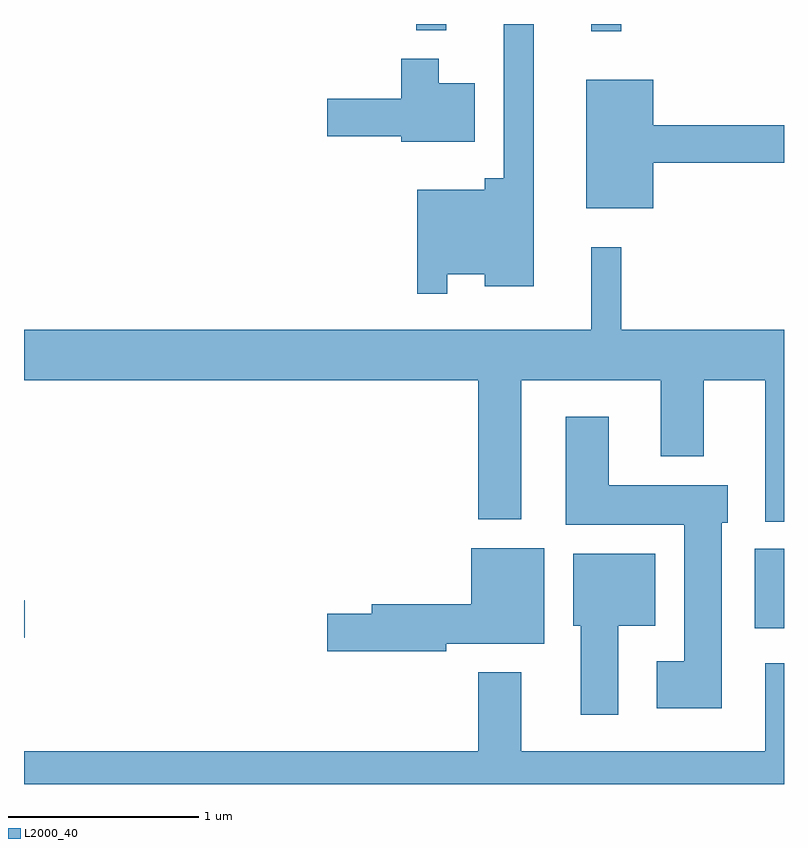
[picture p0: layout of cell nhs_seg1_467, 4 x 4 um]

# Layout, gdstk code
import gdstk
lib = gdstk.Library(unit=1e-6, precision=1e-09)
def R(c, l, rs):  # rectangles x0, y0, x1, y1
    for r in rs: c.add(gdstk.rectangle(r[:2], r[2:], *l))
def P(c, l, *ps):  # polygons
    for p in ps: c.add(gdstk.Polygon(p, *l))
L2000_40 = (2000, 40)

nhs_seg1_467 = lib.new_cell('nhs_seg1_467')
R(nhs_seg1_467, L2000_40, [(199.611,860.481,199.614,860.679), (203.456,860.531,203.611,860.949), (202.596,863.673,202.754,863.712), (201.676,863.678,201.834,863.712)])
P(nhs_seg1_467, L2000_40, [(201.839,862.396),(202.036,862.396),(202.036,862.331),(202.294,862.331),(202.294,863.712),(202.136,863.712),(202.136,862.899),(202.036,862.899),(202.036,862.839),(201.681,862.839),(201.681,862.293),(201.839,862.293)],
  [(201.984,863.399),(201.794,863.399),(201.794,863.529),(201.596,863.529),(201.596,863.319),(201.206,863.319),(201.206,863.121),(201.596,863.121),(201.596,863.091),(201.984,863.091)],
  [(202.924,862.981),(203.611,862.981),(203.611,863.179),(202.924,863.179),(202.924,863.419),(202.571,863.419),(202.571,862.741),(202.924,862.741)],
  [(202.754,862.538),(202.596,862.538),(202.596,862.104),(199.611,862.104),(199.611,861.836),(202.001,861.836),(202.001,861.106),(202.229,861.106),(202.229,861.836),(202.961,861.836),(202.961,861.436),(203.189,861.436),(203.189,861.836),(203.511,861.836),(203.511,861.093),(203.611,861.093),(203.611,862.104),(202.754,862.104)],
  [(203.284,861.086),(203.314,861.086),(203.314,861.284),(202.689,861.284),(202.689,861.644),(202.461,861.644),(202.461,861.076),(203.086,861.076),(203.086,860.359),(202.941,860.359),(202.941,860.111),(203.284,860.111)],
  [(201.834,860.451),(202.349,860.451),(202.349,860.954),(201.966,860.954),(201.966,860.659),(201.441,860.659),(201.441,860.609),(201.206,860.609),(201.206,860.411),(201.834,860.411)],
  [(202.739,860.546),(202.934,860.546),(202.934,860.924),(202.501,860.924),(202.501,860.546),(202.541,860.546),(202.541,860.076),(202.739,860.076)],
  [(203.611,860.348),(203.511,860.348),(203.511,859.884),(202.229,859.884),(202.229,860.299),(202.001,860.299),(202.001,859.884),(199.611,859.884),(199.611,859.712),(203.611,859.712)])

lib.write_gds('nhs_seg1_467.gds')
